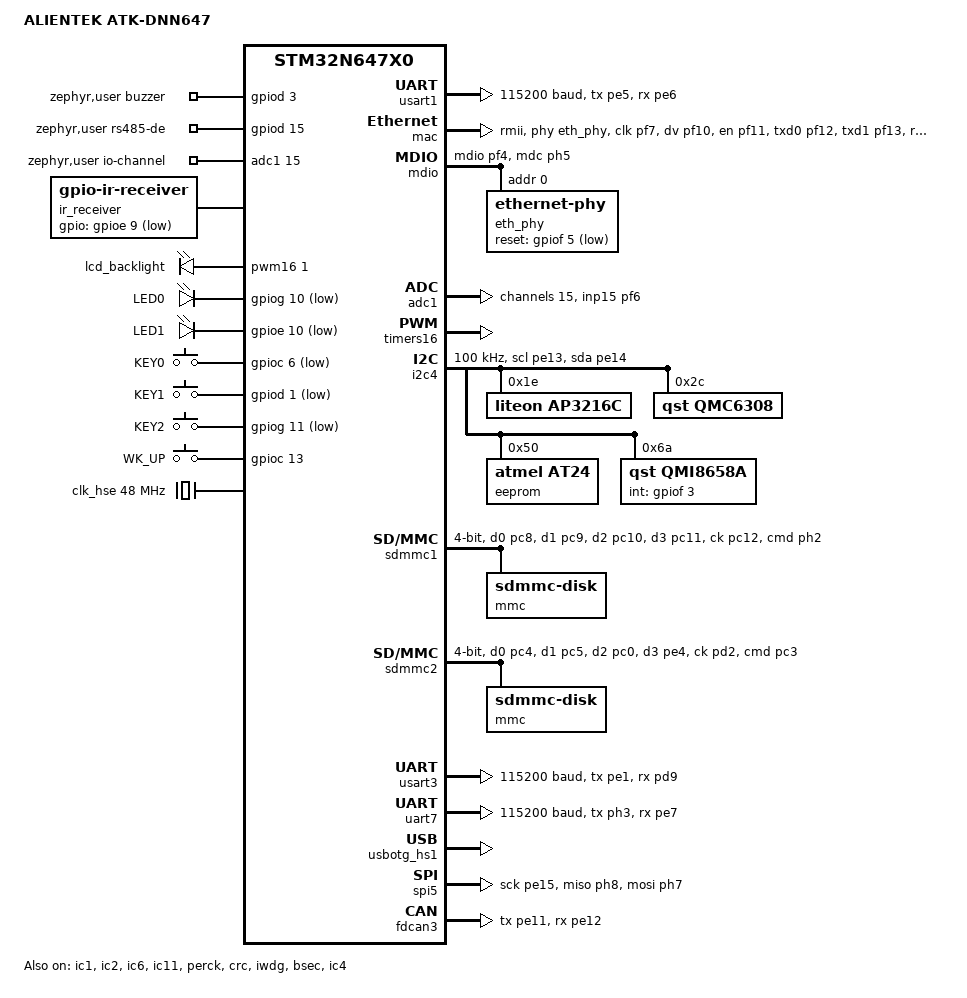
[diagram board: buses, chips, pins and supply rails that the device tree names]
/*
 * SPDX-FileCopyrightText: Copyright The Zephyr Project Contributors
 * SPDX-License-Identifier: Apache-2.0
 */

/dts-v1/;

#include <st/n6/stm32n647X0.dtsi>
#include <st/n6/stm32n647x0hxq-pinctrl.dtsi>
#include <zephyr/dt-bindings/adc/adc.h>
#include <zephyr/dt-bindings/input/input-event-codes.h>
#include <zephyr/dt-bindings/pwm/pwm.h>

/ {
	model = "ALIENTEK ATK-DNN647";
	compatible = "alientek,atk-dnn647";

	chosen {
		zephyr,console = &usart1;
		zephyr,shell-uart = &usart1;
		zephyr,sram = &axisram2;
		zephyr,canbus = &fdcan3;
	};

	aliases {
		eeprom-0 = &eeprom;
		pwm-led0 = &lcd_backlight;
		led0 = &led0;
		led1 = &led1;
		sw0 = &key0;
		sw1 = &key1;
		sw2 = &key2;
		sw3 = &wk_up;
		watchdog0 = &iwdg;
	};

	zephyr,user {
		io-channels = <&adc1 15>;
		buzzer-gpios = <&gpiod 3 GPIO_ACTIVE_HIGH>;
		rs485-de-gpios = <&gpiod 15 GPIO_ACTIVE_HIGH>;
	};

	ir_receiver: ir-receiver {
		compatible = "gpio-ir-receiver";
		gpios = <&gpioe 9 GPIO_ACTIVE_LOW>;
	};

	pwmleds {
		compatible = "pwm-leds";

		lcd_backlight: lcd-backlight {
			pwms = <&pwm16 1 PWM_USEC(100) PWM_POLARITY_NORMAL>;
		};
	};

	leds {
		compatible = "gpio-leds";

		led0: led-0 {
			gpios = <&gpiog 10 GPIO_ACTIVE_LOW>;
			label = "LED0";
		};

		led1: led-1 {
			gpios = <&gpioe 10 GPIO_ACTIVE_LOW>;
			label = "LED1";
		};
	};

	buttons {
		compatible = "gpio-keys";

		key0: key-0 {
			gpios = <&gpioc 6 (GPIO_ACTIVE_LOW | GPIO_PULL_UP)>;
			label = "KEY0";
			zephyr,code = <INPUT_KEY_0>;
		};

		key1: key-1 {
			gpios = <&gpiod 1 (GPIO_ACTIVE_LOW | GPIO_PULL_UP)>;
			label = "KEY1";
			zephyr,code = <INPUT_KEY_1>;
		};

		key2: key-2 {
			gpios = <&gpiog 11 (GPIO_ACTIVE_LOW | GPIO_PULL_UP)>;
			label = "KEY2";
			zephyr,code = <INPUT_KEY_2>;
		};

		wk_up: wk-up {
			gpios = <&gpioc 13 (GPIO_ACTIVE_HIGH | GPIO_PULL_DOWN)>;
			label = "WK_UP";
			zephyr,code = <INPUT_KEY_3>;
		};
	};
};

&clk_hse {
	hse-div2;
	clock-frequency = <DT_FREQ_M(48)>;
	status = "okay";
};

&clk_hsi {
	hsi-div = <1>;
	status = "okay";
};

&pll1 {
	clocks = <&clk_hse>;
	div-m = <3>;
	mul-n = <150>;
	div-p1 = <1>;
	div-p2 = <1>;
	status = "okay";
};

&pll3 {
	clocks = <&clk_hse>;
	div-m = <3>;
	mul-n = <125>;
	div-p1 = <1>;
	div-p2 = <1>;
	status = "okay";
};

&ic1 {
	pll-src = <1>;
	ic-div = <3>;
	status = "okay";
};

&ic2 {
	pll-src = <1>;
	ic-div = <6>;
	status = "okay";
};

&ic6 {
	pll-src = <3>;
	ic-div = <2>;
	status = "okay";
};

&ic11 {
	pll-src = <1>;
	ic-div = <3>;
	status = "okay";
};

&perck {
	clocks = <&rcc STM32_SRC_HSI PER_SEL(0)>;
	status = "okay";
};

&cpusw {
	clocks = <&rcc STM32_SRC_IC1 CPU_SEL(3)>;
	clock-frequency = <DT_FREQ_M(800)>;
	status = "okay";
};

&rcc {
	/* IC2, IC6 and IC11 must all be enabled to select IC2 as SYSCLK. */
	clocks = <&ic2>;
	clock-frequency = <DT_FREQ_M(400)>;
	ahb-prescaler = <2>;
	timg-prescaler = <2>;
};

&usart1 {
	clocks = <&rcc STM32_CLOCK(APB2, 4)>,
		 <&rcc STM32_SRC_CKPER USART1_SEL(1)>;
	pinctrl-0 = <&usart1_tx_pe5 &usart1_rx_pe6>;
	pinctrl-names = "default";
	current-speed = <115200>;
	status = "okay";
};

&crc {
	status = "okay";
};

&iwdg {
	status = "okay";
};

&bsec {
	/* Required for the Ethernet MAC address derived from the device UID. */
	status = "okay";
};

&mac {
	pinctrl-0 = <&eth1_rmii_ref_clk_pf7
		     &eth1_rmii_crs_dv_pf10
		     &eth1_rmii_tx_en_pf11
		     &eth1_rmii_txd0_pf12
		     &eth1_rmii_txd1_pf13
		     &eth1_rmii_rxd0_pf14
		     &eth1_rmii_rxd1_pf15>;
	pinctrl-names = "default";
	phy-connection-type = "rmii";
	phy-handle = <&eth_phy>;
	status = "okay";
};

&mdio {
	pinctrl-0 = <&eth1_mdio_pf4 &eth1_mdc_ph5>;
	pinctrl-names = "default";
	status = "okay";

	eth_phy: ethernet-phy@0 {
		compatible = "ethernet-phy";
		reg = <0>;
		reset-gpios = <&gpiof 5 GPIO_ACTIVE_LOW>;
		reset-assert-duration-us = <100000>;
		reset-deassertion-timeout-ms = <100>;
		default-speeds = "10BASE Half-Duplex", "10BASE Full-Duplex",
				 "100BASE Half-Duplex", "100BASE Full-Duplex";
	};
};

&adc1 {
	clocks = <&rcc STM32_CLOCK(AHB1, 5)>,
		 <&rcc STM32_SRC_CKPER ADC12_SEL(1)>;
	clock-names = "adcx", "adc_ker";
	pinctrl-0 = <&adc1_inp15_pf6>;
	pinctrl-names = "default";
	vref-mv = <1800>;
	#address-cells = <1>;
	#size-cells = <0>;
	status = "okay";

	channel@f {
		reg = <15>;
		zephyr,gain = "ADC_GAIN_1";
		zephyr,reference = "ADC_REF_INTERNAL";
		zephyr,acquisition-time = <ADC_ACQ_TIME(ADC_ACQ_TIME_TICKS, 1500)>;
		zephyr,resolution = <12>;
	};
};

&timers16 {
	st,prescaler = <399>;
	status = "okay";

	pwm16: pwm {
		pinctrl-0 = <&tim16_ch1_pa3>;
		pinctrl-names = "default";
		status = "okay";
	};
};

&i2c4 {
	clocks = <&rcc STM32_CLOCK(APB4, 7)>,
		 <&rcc STM32_SRC_CKPER I2C4_SEL(1)>;
	pinctrl-0 = <&i2c4_scl_pe13 &i2c4_sda_pe14>;
	pinctrl-names = "default";
	clock-frequency = <I2C_BITRATE_STANDARD>;
	status = "okay";

	ap3216c: light-sensor@1e {
		compatible = "liteon,ap3216c";
		reg = <0x1e>;
		als-gain = <4>;
	};

	qmc6308: magnetometer@2c {
		compatible = "qst,qmc6308";
		reg = <0x2c>;
	};

	eeprom: eeprom@50 {
		compatible = "atmel,at24";
		reg = <0x50>;
		size = <256>;
		pagesize = <8>;
		address-width = <8>;
		timeout = <5>;
	};

	qmi8658a: imu@6a {
		compatible = "qst,qmi8658a";
		reg = <0x6a>;
		int-gpios = <&gpiof 3 GPIO_ACTIVE_HIGH>;
		int-pin = <1>;
	};
};

&ic4 {
	pll-src = <1>;
	ic-div = <48>;
	status = "okay";
};

&sdmmc1 {
	clocks = <&rcc STM32_CLOCK(AHB5, 8)>,
		 <&rcc STM32_SRC_IC4 SDMMC1_SEL(2)>;
	pinctrl-0 = <&sdmmc1_d0_pc8 &sdmmc1_d1_pc9 &sdmmc1_d2_pc10
		     &sdmmc1_d3_pc11 &sdmmc1_ck_pc12 &sdmmc1_cmd_ph2>;
	pinctrl-names = "default";
	bus-width = <4>;
	max-bus-freq = <25000000>;
	clk-div = <1>;
	status = "okay";

	mmc {
		compatible = "zephyr,sdmmc-disk";
		disk-name = "SD";
	};
};

&sdmmc2 {
	clocks = <&rcc STM32_CLOCK(AHB5, 7)>,
		 <&rcc STM32_SRC_IC4 SDMMC2_SEL(2)>;
	pinctrl-0 = <&sdmmc2_d0_pc4 &sdmmc2_d1_pc5 &sdmmc2_d2_pc0
		     &sdmmc2_d3_pe4 &sdmmc2_ck_pd2 &sdmmc2_cmd_pc3>;
	pinctrl-names = "default";
	bus-width = <4>;
	max-bus-freq = <25000000>;
	clk-div = <1>;
	status = "okay";

	mmc {
		compatible = "zephyr,sdmmc-disk";
		disk-name = "SD2";
	};
};

&usart3 {
	clocks = <&rcc STM32_CLOCK(APB1, 18)>,
		 <&rcc STM32_SRC_CKPER USART3_SEL(1)>;
	pinctrl-0 = <&usart3_tx_pe1 &usart3_rx_pd9>;
	pinctrl-names = "default";
	current-speed = <115200>;
	status = "okay";
};

&uart7 {
	clocks = <&rcc STM32_CLOCK(APB1, 30)>,
		 <&rcc STM32_SRC_CKPER UART7_SEL(1)>;
	pinctrl-0 = <&uart7_tx_ph3 &uart7_rx_pe7>;
	pinctrl-names = "default";
	current-speed = <115200>;
	status = "okay";
};

zephyr_udc0: &usbotg_hs1 {
	status = "okay";
};

&spi5 {
	clocks = <&rcc STM32_CLOCK(APB2, 20)>,
		 <&rcc STM32_SRC_CKPER SPI5_SEL(1)>;
	pinctrl-0 = <&spi5_sck_pe15 &spi5_miso_ph8 &spi5_mosi_ph7>;
	pinctrl-names = "default";
	cs-gpios = <&gpioh 6 GPIO_ACTIVE_LOW>;
	status = "okay";
};

&fdcan3 {
	clocks = <&rcc STM32_CLOCK(APB1_2, 8)>,
		 <&rcc STM32_SRC_CKPER FDCAN_SEL(1)>;
	pinctrl-0 = <&fdcan3_tx_pe11 &fdcan3_rx_pe12>;
	pinctrl-names = "default";
	status = "okay";

	can-transceiver {
		max-bitrate = <1000000>;
	};
};
